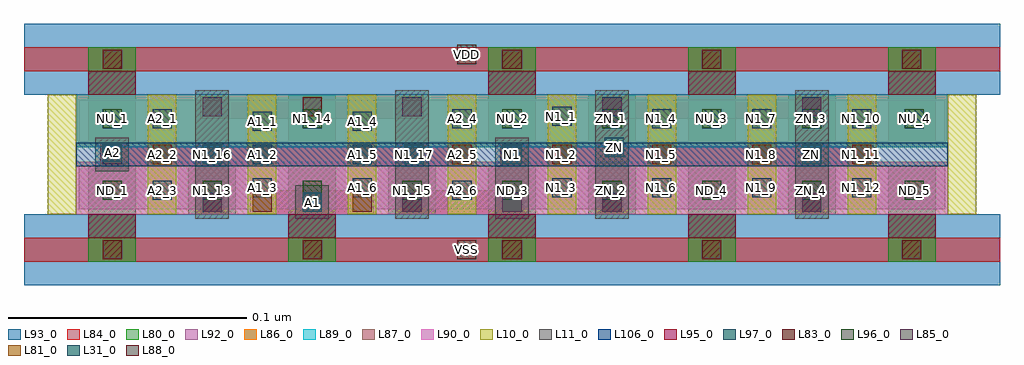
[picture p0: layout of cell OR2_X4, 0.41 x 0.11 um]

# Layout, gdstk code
import gdstk
lib = gdstk.Library(unit=1e-6, precision=1e-09)
def R(c, l, rs):  # rectangles x0, y0, x1, y1
    for r in rs: c.add(gdstk.rectangle(r[:2], r[2:], *l))
def A(c, l, x, y, w, h, nx, ny, dx, dy):  # array of equal rectangles
    R(c, l, [(x+i*dx, y+j*dy, x+i*dx+w, y+j*dy+h) for i in range(nx) for j in range(ny)])
L10_0 = (10, 0)
L11_0 = (11, 0)
L31_0 = (31, 0)
L80_0 = (80, 0)
L81_0 = (81, 0)
L83_0 = (83, 0)
L84_0 = (84, 0)
L85_0 = (85, 0)
L86_0 = (86, 0)
L87_0 = (87, 0)
L88_0 = (88, 0)
L89_0 = (89, 0)
L90_0 = (90, 0)
L92_0 = (92, 0)
L93_0 = (93, 0)
L95_0 = (95, 0)
L96_0 = (96, 0)
L97_0 = (97, 0)
L106_0 = (106, 0)

or2_x4 = lib.new_cell('OR2_X4')
A(or2_x4, L10_0, -0.027, 0.015, 0.012, 0.05, 10, 1, 0.042, 0)
A(or2_x4, L11_0, 0.119, 0.013, 0.014, 0.034, 3, 1, 0.042, 0)
A(or2_x4, L11_0, 0.035, 0.033, 0.014, 0.034, 4, 1, 0.084, 0)
R(or2_x4, L11_0, [(0.035,0.013,0.049,0.047), (0.077,0.013,0.091,0.027), (0.287,0.013,0.301,0.047), (-0.007,0.033,0.007,0.047)])
R(or2_x4, L31_0, [(0.08,0.016,0.088,0.024), (0.038,0.036,0.046,0.044), (0.123,0.036,0.131,0.044), (0.164,0.036,0.172,0.044), (0.29,0.036,0.298,0.044), (-0.004,0.037,0.004,0.045), (0.207,0.039,0.215,0.047)])
A(or2_x4, L80_0, -0.01, -0.005, 0.02, 0.021, 5, 1, 0.084, 0)
A(or2_x4, L80_0, -0.01, 0.015, 0.02, 0.02, 9, 1, 0.042, 0)
A(or2_x4, L80_0, 0.158, 0.056, 0.02, 0.029, 3, 1, 0.084, 0)
R(or2_x4, L80_0, [(-0.01,0.045,0.01,0.065), (-0.01,0.045,0.01,0.065), (0.074,0.045,0.094,0.065), (0.074,0.045,0.094,0.065), (0.158,0.045,0.178,0.065), (0.158,0.045,0.178,0.065), (0.2,0.045,0.22,0.065), (0.2,0.045,0.22,0.065), (0.242,0.045,0.262,0.065), (0.242,0.045,0.262,0.065), (0.284,0.045,0.304,0.065), (0.284,0.045,0.304,0.065), (0.326,0.045,0.346,0.065), (0.326,0.045,0.346,0.065), (-0.01,0.056,0.01,0.085)])
A(or2_x4, L81_0, 0.143, 0.036, 0.008, 0.008, 5, 1, 0.042, 0)
R(or2_x4, L81_0, [(0.059,0.016,0.067,0.024), (0.101,0.016,0.109,0.024), (0.017,0.036,0.025,0.044)])
A(or2_x4, L83_0, -0.004, -0.004, 0.008, 0.008, 5, 1, 0.084, 0)
A(or2_x4, L83_0, 0.038, 0.016, 0.008, 0.008, 4, 1, 0.084, 0)
A(or2_x4, L83_0, 0.164, 0.076, 0.008, 0.008, 3, 1, 0.084, 0)
R(or2_x4, L83_0, [(0.08,0.056,0.088,0.064), (0.206,0.056,0.214,0.064), (0.29,0.056,0.298,0.064), (-0.004,0.076,0.004,0.084)])
A(or2_x4, L84_0, 0.037, 0.035, 0.031, 0.01, 5, 1, 0.021, 0)
A(or2_x4, L84_0, 0.163, 0.035, 0.031, 0.01, 7, 1, 0.021, 0)
A(or2_x4, L84_0, 0.037, 0.055, 0.031, 0.01, 4, 1, 0.021, 0)
A(or2_x4, L84_0, 0.205, 0.055, 0.031, 0.01, 4, 1, 0.021, 0)
R(or2_x4, L84_0, [(-0.037,-0.005,0.373,0.005), (0.037,0.015,0.047,0.025), (0.058,0.015,0.089,0.025), (0.079,0.015,0.11,0.025), (0.121,0.015,0.152,0.025), (0.142,0.015,0.173,0.025), (0.205,0.015,0.215,0.025), (0.289,0.015,0.299,0.025), (-0.005,0.035,0.047,0.045), (-0.037,0.075,0.373,0.085)])
A(or2_x4, L85_0, 0.038, 0.016, 0.008, 0.008, 5, 1, 0.042, 0)
A(or2_x4, L85_0, 0.038, 0.056, 0.008, 0.008, 4, 1, 0.084, 0)
R(or2_x4, L85_0, [(0.29,0.016,0.298,0.024), (-0.004,0.036,0.004,0.044), (0.164,0.036,0.172,0.044)])
R(or2_x4, L86_0, [(-0.015,0.043,0.351,0.065)])
R(or2_x4, L87_0, [(-0.015,0.015,0.351,0.037)])
R(or2_x4, L88_0, [(0.145,-0.004,0.153,0.004), (0.145,0.078,0.153,0.086)])
R(or2_x4, L89_0, [(-0.015,0.043,0.351,0.065)])
R(or2_x4, L90_0, [(-0.015,0.015,0.351,0.037)])
R(or2_x4, L92_0, [(-0.014,0.017,0.35,0.035), (-0.014,0.045,0.35,0.063)])
R(or2_x4, L93_0, [(-0.037,-0.015,0.373,0.015), (-0.037,0.065,0.373,0.095)])
A(or2_x4, L95_0, -0.01, 0.005, 0.02, 0.01, 5, 1, 0.084, 0)
A(or2_x4, L95_0, 0.158, 0.065, 0.02, 0.01, 3, 1, 0.084, 0)
R(or2_x4, L95_0, [(-0.01,0.065,0.01,0.075)])
A(or2_x4, L96_0, -0.004, 0.021, 0.008, 0.008, 8, 1, 0.042, 0)
A(or2_x4, L96_0, -0.004, 0.051, 0.008, 0.008, 3, 1, 0.084, 0)
A(or2_x4, L96_0, 0.206, 0.051, 0.008, 0.008, 3, 1, 0.042, 0)
R(or2_x4, L96_0, [(0.333,0.021,0.341,0.029), (0.333,0.051,0.341,0.059)])
A(or2_x4, L97_0, 0.185, 0.022, 0.008, 0.008, 4, 1, 0.042, 0)
A(or2_x4, L97_0, 0.017, 0.036, 0.008, 0.008, 8, 1, 0.042, 0)
A(or2_x4, L97_0, 0.227, 0.051, 0.008, 0.008, 3, 1, 0.042, 0)
R(or2_x4, L97_0, [(0.017,0.021,0.025,0.029), (0.143,0.021,0.151,0.029), (0.059,0.022,0.067,0.03), (0.101,0.022,0.109,0.03), (0.059,0.05,0.067,0.058), (0.101,0.05,0.109,0.058), (0.017,0.051,0.025,0.059), (0.143,0.051,0.151,0.059), (0.185,0.052,0.193,0.06)])
R(or2_x4, L106_0, [(-0.015,0.035,0.351,0.045)])
or2_x4.add(gdstk.Label('VSS', (0.149,0), layer=88, texttype=0))
or2_x4.add(gdstk.Label('VDD', (0.149,0.082), layer=88, texttype=0))
or2_x4.add(gdstk.Label('ZN', (0.294,0.04), layer=31, texttype=0))
or2_x4.add(gdstk.Label('N1', (0.168,0.04), layer=31, texttype=0))
or2_x4.add(gdstk.Label('N1_17', (0.127,0.04), layer=31, texttype=0))
or2_x4.add(gdstk.Label('N1_16', (0.042,0.04), layer=31, texttype=0))
or2_x4.add(gdstk.Label('ZN', (0.211,0.043), layer=31, texttype=0))
or2_x4.add(gdstk.Label('A1', (0.084,0.02), layer=31, texttype=0))
or2_x4.add(gdstk.Label('A2', (0,0.041), layer=31, texttype=0))
or2_x4.add(gdstk.Label('N1_10', (0.315,0.055), layer=97, texttype=0))
or2_x4.add(gdstk.Label('N1_11', (0.315,0.04), layer=97, texttype=0))
or2_x4.add(gdstk.Label('N1_12', (0.315,0.026), layer=97, texttype=0))
or2_x4.add(gdstk.Label('N1_9', (0.273,0.026), layer=97, texttype=0))
or2_x4.add(gdstk.Label('N1_8', (0.273,0.04), layer=97, texttype=0))
or2_x4.add(gdstk.Label('N1_7', (0.273,0.055), layer=97, texttype=0))
or2_x4.add(gdstk.Label('N1_1', (0.189,0.056), layer=97, texttype=0))
or2_x4.add(gdstk.Label('N1_2', (0.189,0.04), layer=97, texttype=0))
or2_x4.add(gdstk.Label('N1_3', (0.189,0.026), layer=97, texttype=0))
or2_x4.add(gdstk.Label('N1_6', (0.231,0.026), layer=97, texttype=0))
or2_x4.add(gdstk.Label('N1_5', (0.231,0.04), layer=97, texttype=0))
or2_x4.add(gdstk.Label('N1_4', (0.231,0.055), layer=97, texttype=0))
or2_x4.add(gdstk.Label('A2_4', (0.147,0.055), layer=97, texttype=0))
or2_x4.add(gdstk.Label('A2_5', (0.147,0.04), layer=97, texttype=0))
or2_x4.add(gdstk.Label('A2_6', (0.147,0.025), layer=97, texttype=0))
or2_x4.add(gdstk.Label('A1_4', (0.105,0.054), layer=97, texttype=0))
or2_x4.add(gdstk.Label('A1_5', (0.105,0.04), layer=97, texttype=0))
or2_x4.add(gdstk.Label('A1_6', (0.105,0.026), layer=97, texttype=0))
or2_x4.add(gdstk.Label('A2_1', (0.021,0.055), layer=97, texttype=0))
or2_x4.add(gdstk.Label('A2_2', (0.021,0.04), layer=97, texttype=0))
or2_x4.add(gdstk.Label('A2_3', (0.021,0.025), layer=97, texttype=0))
or2_x4.add(gdstk.Label('A1_1', (0.063,0.054), layer=97, texttype=0))
or2_x4.add(gdstk.Label('A1_2', (0.063,0.04), layer=97, texttype=0))
or2_x4.add(gdstk.Label('A1_3', (0.063,0.026), layer=97, texttype=0))
or2_x4.add(gdstk.Label('ZN_3', (0.294,0.055), layer=96, texttype=0))
or2_x4.add(gdstk.Label('ZN_4', (0.294,0.025), layer=96, texttype=0))
or2_x4.add(gdstk.Label('NU_4', (0.337,0.055), layer=96, texttype=0))
or2_x4.add(gdstk.Label('ND_5', (0.337,0.025), layer=96, texttype=0))
or2_x4.add(gdstk.Label('NU_3', (0.252,0.055), layer=96, texttype=0))
or2_x4.add(gdstk.Label('ND_4', (0.252,0.025), layer=96, texttype=0))
or2_x4.add(gdstk.Label('ZN_1', (0.21,0.055), layer=96, texttype=0))
or2_x4.add(gdstk.Label('ZN_2', (0.21,0.025), layer=96, texttype=0))
or2_x4.add(gdstk.Label('N1_15', (0.126,0.025), layer=96, texttype=0))
or2_x4.add(gdstk.Label('N1_13', (0.042,0.025), layer=96, texttype=0))
or2_x4.add(gdstk.Label('ND_2', (0.084,0.025), layer=96, texttype=0))
or2_x4.add(gdstk.Label('N1_14', (0.084,0.055), layer=96, texttype=0))
or2_x4.add(gdstk.Label('ND_3', (0.168,0.025), layer=96, texttype=0))
or2_x4.add(gdstk.Label('NU_2', (0.168,0.055), layer=96, texttype=0))
or2_x4.add(gdstk.Label('NU_1', (0,0.055), layer=96, texttype=0))
or2_x4.add(gdstk.Label('ND_1', (0,0.025), layer=96, texttype=0))

lib.write_gds('OR2_X4.gds')
